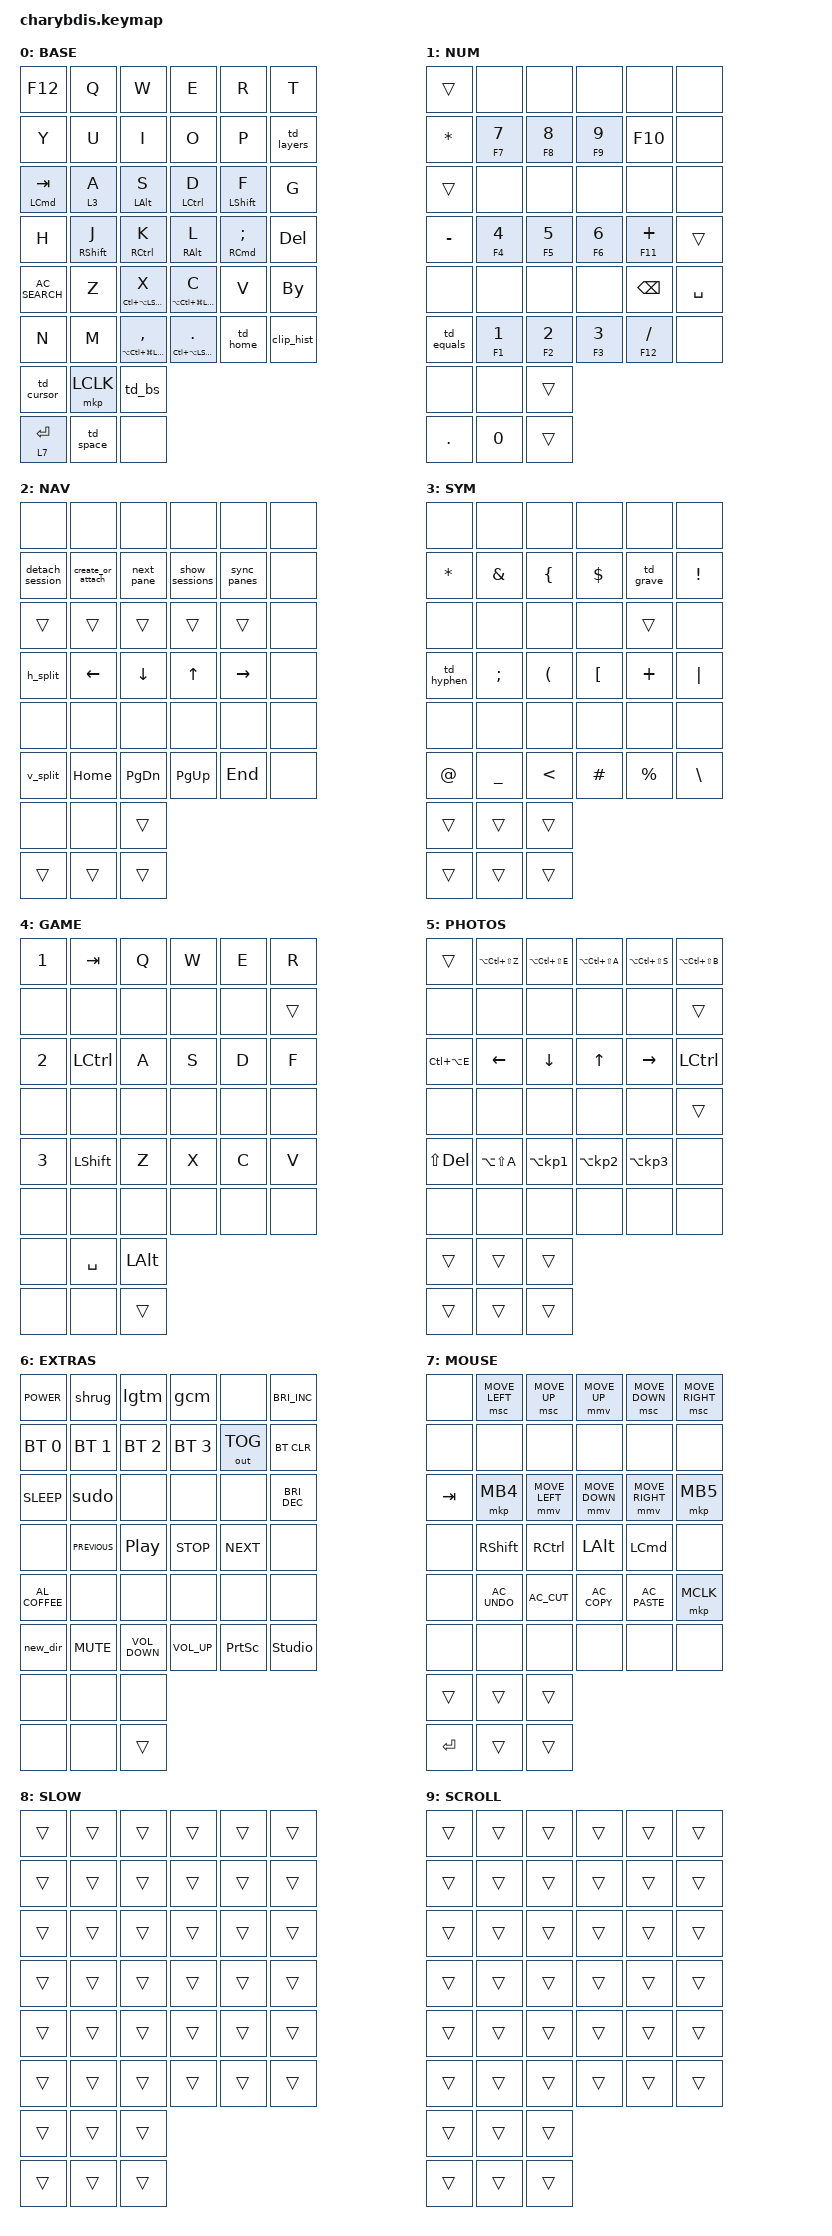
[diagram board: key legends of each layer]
#include <behaviors.dtsi>
#include <dt-bindings/zmk/bt.h>
#include <dt-bindings/zmk/keys.h>
#include <dt-bindings/zmk/mouse.h>
#include <dt-bindings/zmk/outputs.h>
#include <behaviors/mouse_keys.dtsi>
#include <dt-bindings/zmk/ext_power.h>
#include "macros.dtsi"
#include "behaviors.dtsi"
#include "combos.dtsi"

/ {
    /* input config for mouse move mode */
    trackball_listener {
        compatible = "zmk,input-behavior-listener";
        device = <&vtrackball>;
        layers = <0 2 7>;
        evt-type = <INPUT_EV_REL>;
        x-input-code = <INPUT_REL_X>;
        y-input-code = <INPUT_REL_Y>;
        scale-multiplier = <4>;
        scale-divisor = <5>;
        // bindings = <&ib_toggle_layer 7>;
    };

    /* input config for snipe mode */
    trackball_snipe_listener {
        compatible = "zmk,input-behavior-listener";   
        device = <&vtrackball>;
        layers = <8>;
        evt-type = <INPUT_EV_REL>;
        x-input-code = <INPUT_REL_X>;
        y-input-code = <INPUT_REL_Y>;
        scale-multiplier = <1>;
        scale-divisor = <6>;
    };

    /* input config for mouse scroll mode */
    trackball_scroll_listener {
        compatible = "zmk,input-behavior-listener";
        device = <&vtrackball>;
        layers = <9>;
        evt-type = <INPUT_EV_REL>;            
        x-input-code = <INPUT_REL_MISC>;
        y-input-code = <INPUT_REL_WHEEL>;
        y-invert;
        bindings = <&ib_wheel_scaler 1 14>;
    };

    /* define a resolution down scaler only for INPUT_REL_WHEEL */
    ib_wheel_scaler: ib_wheel_scaler {
        compatible = "zmk,input-behavior-scaler";
        #binding-cells = <2>;
        evt-type = <INPUT_EV_REL>;
        input-code = <INPUT_REL_WHEEL>;
    };

    /* adjust cooldown waiting period for mouse key layer after activated */
    ib_toggle_layer: ib_toggle_layer {
        compatible = "zmk,input-behavior-tog-layer";
        #binding-cells = <1>;
        time-to-live-ms = <750>;
    };

// #define BASE    0
// #define NUM     1
// #define NAV     2
// #define SYM     3
// #define GAME    4
// #define PHOTOS  5
// #define EXTRAS  6
// #define MOUSE   7
// #define SLOW    8
// #define SCROLL  9

    keymap {
        compatible = "zmk,keymap";
        BASE {
// ╭───────┬───────┬───────┬───────┬───────┬───────╮  ╭───────┬───────┬───────┬───────┬───────┬───────╮
// │ F12   │   Q   │   W   │   E   │   R   │   T   │  │   Y   │   U   │   I   │   O   │   P   │ TDLyr │
// ├───────┼───────┼───────┼───────┼───────┼───────┤  ├───────┼───────┼───────┼───────┼───────┼───────┤
// │ TAB   │ L3/A  │   S   │   D   │   F   │   G   │  │   H   │   J   │   K   │   L   │   ;   │  DEL  │
// ├───────┼───────┼───────┼───────┼───────┼───────┤  ├───────┼───────┼───────┼───────┼───────┼───────┤
// │ SRCH  │   Z   │   X   │   C   │   V   │   B   │  │   N   │   M   │   ,   │   .   │ TDHom │CLIP H │
// ╰───────┴───────┴───────┴───────┴───────┴───────╯  ╰───────┴───────┴───────┴───────┴───────┴───────╯
//                           ╭───────┬───────┬───────╮  ╭───────┬───────┬───────╮
//                           │ TDCur │ LCLK  │ TDBS  │  │L7/RET │ TDSPC │ ----- │
//                           ╰───────┴───────┴───────╯  ╰───────┴───────┴───────╯
            bindings = <
            // row1 left
            &kp F12 &kp Q &kp W &kp E &kp R &kp T
            // row 1 right
            &kp Y &kp U &kp I &kp O &kp P &td_layers
            // row 2 left
            &hm_left LCMD TAB &lt 3 A &hm_left LEFT_ALT S &hm_left LCTRL D &hm_left LEFT_SHIFT F &kp G
            // row 2 right
            &kp H &hm_right RIGHT_SHIFT J &hm_right RCTRL K &hm_right RIGHT_ALT L &hm_right RCMD SEMICOLON &kp DEL
            // row 3 left
            &kp C_AC_SEARCH &kp Z &hm_left LC(LA(LEFT_SHIFT)) X &hm_left LA(LC(LG(LEFT_SHIFT))) C &kp V &kp By
            // row 3 right
            &kp N &kp M &hm_right LA(LC(LG(LEFT_SHIFT))) COMMA &hm_right LC(LA(LEFT_SHIFT)) PERIOD &td_home &clip_hist
            // left cluster
            &td_cursor &mkp LCLK &td_bs
            // right cluster
                                                                                                                                                                  &lt 7 RETURN &td_space &none
            >;
        };

        NUM {
// ╭───────┬───────┬───────┬───────┬───────┬───────╮  ╭───────┬───────┬───────┬───────┬───────┬───────╮
// │ TRANS │ ----- │ ----- │ ----- │ ----- │ ----- │  │   *   │   7   │   8   │   9   │  F10  │ ----- │
// ├───────┼───────┼───────┼───────┼───────┼───────┤  ├───────┼───────┼───────┼───────┼───────┼───────┤
// │ TRANS │ ----- │ ----- │ ----- │ ----- │ ----- │  │   -   │   4   │   5   │   6   │F11/+  │ TRANS │
// ├───────┼───────┼───────┼───────┼───────┼───────┤  ├───────┼───────┼───────┼───────┼───────┼───────┤
// │ ----- │ ----- │ ----- │ ----- │  BSPC │  SPC  │  │ TDEql │   1   │   2   │   3   │F12/// │ ----- │
// ╰───────┴───────┴───────┴───────┴───────┴───────╯  ╰───────┴───────┴───────┴───────┴───────┴───────╯
//                           ╭───────┬───────┬───────╮  ╭───────┬───────┬───────╮
//                           │ ----- │ ----- │ TRANS │  │   .   │   0   │ TRANS │
//                           ╰───────┴───────┴───────╯  ╰───────┴───────┴───────╯
            bindings = <
            // row1 left
            &trans &none &none &none &none &none
            // row 1 right
            &kp ASTRK &hm F7 N7 &hm F8 N8 &hm F9 N9 &kp F10 &none
            // row 2 left
            &trans &none &none &none &none &none
            // row 2 right
            &kp MINUS &hm F4 N4 &hm F5 N5 &hm F6 N6 &hm F11 PLUS &trans
            // row 3 left
            &none &none &none &none &kp BACKSPACE &kp SPACE
            // row 3 right
            &td_equals &hm F1 N1 &hm F2 N2 &hm F3 N3 &hm F12 SLASH &none
            // left cluster
            &none &none &trans
            // right cluster
            &kp DOT &kp N0 &trans
            >;
        };

        NAV {
// ╭───────┬───────┬───────┬───────┬───────┬───────╮  ╭───────┬───────┬───────┬───────┬───────┬───────╮
// │ ----- │ ----- │ ----- │ ----- │ ----- │ ----- │  │ DETACH│ CREATE│ NXTPAN│ SHOW S│ SYNCP │ ----- │
// ├───────┼───────┼───────┼───────┼───────┼───────┤  ├───────┼───────┼───────┼───────┼───────┼───────┤
// │ TRANS │ TRANS │ TRANS │ TRANS │ TRANS │ ----- │  │ HSPLIT│  LEFT │  DOWN │   UP  │ RIGHT │ ----- │
// ├───────┼───────┼───────┼───────┼───────┼───────┤  ├───────┼───────┼───────┼───────┼───────┼───────┤
// │ ----- │ ----- │ ----- │ ----- │ ----- │ ----- │  │ VSPLIT│  HOME │ PG_DN │ PG_UP │  END  │ ----- │
// ╰───────┴───────┴───────┴───────┴───────┴───────╯  ╰───────┴───────┴───────┴───────┴───────┴───────╯
//                           ╭───────┬───────┬───────╮  ╭───────┬───────┬───────╮
//                           │ ----- │ ----- │ TRANS │  │ TRANS │ TRANS │ TRANS │
//                           ╰───────┴───────┴───────╯  ╰───────┴───────┴───────╯
            bindings = <
            // row1 left
            &none &none &none &none &none &none
            // row 1 right
            &detach_session &create_or_attach &next_pane &show_sessions &sync_panes &none
            // row 2 left
            &trans &trans &trans &trans &trans &none
            // row 2 right
            &h_split &kp LEFT_ARROW &kp DOWN &kp UP &kp RIGHT_ARROW &none
            // row 3 left
            &none &none &none &none &none &none
            // row 3 right
            &v_split &kp HOME &kp PG_DN &kp PG_UP &kp END &none
            // left cluster
            &none &none &trans
            // right cluster
            &trans &trans &trans
            >;
        };

        SYM {
// ╭───────┬───────┬───────┬───────┬───────┬───────╮  ╭───────┬───────┬───────┬───────┬───────┬───────╮
// │ ----- │ ----- │ ----- │ ----- │ ----- │ ----- │  │   *   │   &   │ LBRC  │   $   │TDGrav │   !   │
// ├───────┼───────┼───────┼───────┼───────┼───────┤  ├───────┼───────┼───────┼───────┼───────┼───────┤
// │ ----- │ ----- │ ----- │ ----- │ TRANS │ ----- │  │ TDHyp │   ;   │ LPAR  │ LBKT  │   +   │   |   │
// ├───────┼───────┼───────┼───────┼───────┼───────┤  ├───────┼───────┼───────┼───────┼───────┼───────┤
// │ ----- │ ----- │ ----- │ ----- │ ----- │ ----- │  │   @   │ UNDS  │   <   │   #   │   %   │   \  │
// ╰───────┴───────┴───────┴───────┴───────┴───────╯  ╰───────┴───────┴───────┴───────┴───────┴───────╯
//                           ╭───────┬───────┬───────╮  ╭───────┬───────┬───────╮
//                           │ TRANS │ TRANS │ TRANS │  │ TRANS │ TRANS │ TRANS │
//                           ╰───────┴───────┴───────╯  ╰───────┴───────┴───────╯
            bindings = <
            // row1 left
            &none &none &none &none &none &none
            // row 1 right
            &kp ASTRK &kp AMPS &kp LEFT_BRACE &kp DLLR &td_grave &kp EXCL
            // row 2 left
            &none &none &none &none &trans &none
            // row 2 right
            &td_hyphen &kp SEMICOLON &kp LPAR &kp LBKT &kp PLUS &kp PIPE
            // row 3 left
            &none &none &none &none &none &none
            // row 3 right
            &kp AT_SIGN &kp UNDERSCORE &kp LT &kp HASH &kp PRCNT &kp BSLH
            // left cluster
            &trans &trans &trans
            // right cluster
            &trans &trans &trans
            >;
        };

        GAME {
// ╭───────┬───────┬───────┬───────┬───────┬───────╮  ╭───────┬───────┬───────┬───────┬───────┬───────╮
// │   1   │  TAB  │   Q   │   W   │   E   │   R   │  │ ----- │ ----- │ ----- │ ----- │ ----- │ TRANS │
// ├───────┼───────┼───────┼───────┼───────┼───────┤  ├───────┼───────┼───────┼───────┼───────┼───────┤
// │   2   │  LCTL │   A   │   S   │   D   │   F   │  │ ----- │ ----- │ ----- │ ----- │ ----- │ ----- │
// ├───────┼───────┼───────┼───────┼───────┼───────┤  ├───────┼───────┼───────┼───────┼───────┼───────┤
// │   3   │  LSFT │   Z   │   X   │   C   │   V   │  │ ----- │ ----- │ ----- │ ----- │ ----- │ ----- │
// ╰───────┴───────┴───────┴───────┴───────┴───────╯  ╰───────┴───────┴───────┴───────┴───────┴───────╯
//                           ╭───────┬───────┬───────╮  ╭───────┬───────┬───────╮
//                           │ ----- │  SPC  │ LALT  │  │ ----- │ ----- │ TRANS │
//                           ╰───────┴───────┴───────╯  ╰───────┴───────┴───────╯
            bindings = <
            // row1 left
            &kp N1 &kp TAB &kp Q &kp W &kp E &kp R
            // row 1 right
            &none &none &none &none &none &trans
            // row 2 left
            &kp N2 &kp LCTRL &kp A &kp S &kp D &kp F
            // row 2 right
            &none &none &none &none &none &none
            // row 3 left
            &kp N3 &kp LSHFT &kp Z &kp X &kp C &kp V
            // row 3 right
            &none &none &none &none &none &none
            // left cluster
            &none &kp SPACE &kp LEFT_ALT
            // right cluster
            &none &none &trans
            >;
        };

        PHOTOS {
// ╭───────┬───────┬───────┬───────┬───────┬───────╮  ╭───────┬───────┬───────┬───────┬───────┬───────╮
// │ TRANS │   Z   │   E   │   A   │   S   │   B   │  │ ----- │ ----- │ ----- │ ----- │ ----- │ TRANS │
// ├───────┼───────┼───────┼───────┼───────┼───────┤  ├───────┼───────┼───────┼───────┼───────┼───────┤
// │   E   │  LEFT │  DOWN │   UP  │ RIGHT │  LCTL │  │ ----- │ ----- │ ----- │ ----- │ ----- │ TRANS │
// ├───────┼───────┼───────┼───────┼───────┼───────┤  ├───────┼───────┼───────┼───────┼───────┼───────┤
// │  DEL  │   A   │   K1  │   K2  │   K3  │ ----- │  │ ----- │ ----- │ ----- │ ----- │ ----- │ ----- │
// ╰───────┴───────┴───────┴───────┴───────┴───────╯  ╰───────┴───────┴───────┴───────┴───────┴───────╯
//                           ╭───────┬───────┬───────╮  ╭───────┬───────┬───────╮
//                           │ TRANS │ TRANS │ TRANS │  │ TRANS │ TRANS │ TRANS │
//                           ╰───────┴───────┴───────╯  ╰───────┴───────┴───────╯
            bindings = <
            // row1 left
            &trans &kp LA(LC(LS(Z))) &kp LA(LC(LS(E))) &kp LA(LC(LS(A))) &kp LA(LC(LS(S))) &kp LA(LC(LS(B)))
            // row 1 right
            &none &none &none &none &none &trans
            // row 2 left
            &kp LC(LA(E)) &kp LEFT &kp DOWN &kp UP &kp RIGHT &kp LCTRL
            // row 2 right
            &none &none &none &none &none &trans
            // row 3 left
            &kp LS(DELETE) &kp LA(LS(A)) &kp LA(KP_N1) &kp LA(KP_N2) &kp LA(KP_N3) &none
            // row 3 right
            &none &none &none &none &none &none
            // left cluster
            &trans &trans &trans
            // right cluster
            &trans &trans &trans
            >;
        };

        EXTRAS {
// ╭───────┬───────┬───────┬───────┬───────┬───────╮  ╭───────┬───────┬───────┬───────┬───────┬───────╮
// │  PWR  │ SHRUG │ LGTM  │  GCM  │ ----- │  BRT+ │  │  BT 0 │  BT 1 │  BT 2 │  BT 3 │ OUTTOG│ BT CLR│
// ├───────┼───────┼───────┼───────┼───────┼───────┤  ├───────┼───────┼───────┼───────┼───────┼───────┤
// │ SLEEP │  SUDO │ ----- │ ----- │ ----- │  BRT- │  │ ----- │  PREV │  PLAY │  STOP │  NEXT │ ----- │
// ├───────┼───────┼───────┼───────┼───────┼───────┤  ├───────┼───────┼───────┼───────┼───────┼───────┤
// │ COFFEE│ ----- │ ----- │ ----- │ ----- │ ----- │  │ NEWDIR│  MUTE │  VOL- │  VOL+ │ PRSCN │ UNLOCK│
// ╰───────┴───────┴───────┴───────┴───────┴───────╯  ╰───────┴───────┴───────┴───────┴───────┴───────╯
//                           ╭───────┬───────┬───────╮  ╭───────┬───────┬───────╮
//                           │ ----- │ ----- │ ----- │  │ ----- │ ----- │ TRANS │
//                           ╰───────┴───────┴───────╯  ╰───────┴───────┴───────╯
            bindings = <
            // row1 left
            &kp C_POWER &shrug &lgtm &gcm &none &kp C_BRIGHTNESS_INC
            // row 1 right
            &bt BT_SEL 0 &bt BT_SEL 1 &bt BT_SEL 2 &bt BT_SEL 3 &out OUT_TOG &bt BT_CLR
            // row 2 left
            &kp C_SLEEP &sudo &none &none &none &kp C_BRIGHTNESS_DEC
            // row 2 right
            &none &kp C_PREVIOUS &kp C_PLAY_PAUSE &kp C_STOP &kp C_NEXT &none
            // row 3 left
            &kp C_AL_COFFEE &none &none &none &none &none
            // row 3 right
            &new_dir &kp K_MUTE &kp C_VOLUME_DOWN &kp C_VOLUME_UP &kp PRINTSCREEN &studio_unlock
            // left cluster
            &none &none &none
            // right cluster
            &none &none &trans
            >;
        };

        MOUSE {
// ╭───────┬───────┬───────┬───────┬───────┬───────╮  ╭───────┬───────┬───────┬───────┬───────┬───────╮
// │ ----- │ S LEFT│  S UP │  M UP │ S DOWN│ S RIGH│  │ ----- │ ----- │ ----- │ ----- │ ----- │ ----- │
// ├───────┼───────┼───────┼───────┼───────┼───────┤  ├───────┼───────┼───────┼───────┼───────┼───────┤
// │  TAB  │  MB4  │ M LEFT│ M DOWN│ M RIGH│  MB5  │  │ ----- │  RSFT │  RCTL │  LALT │  LGUI │ ----- │
// ├───────┼───────┼───────┼───────┼───────┼───────┤  ├───────┼───────┼───────┼───────┼───────┼───────┤
// │ ----- │  UNDO │  CUT  │  COPY │ PASTE │  MCLK │  │ ----- │ ----- │ ----- │ ----- │ ----- │ ----- │
// ╰───────┴───────┴───────┴───────┴───────┴───────╯  ╰───────┴───────┴───────┴───────┴───────┴───────╯
//                           ╭───────┬───────┬───────╮  ╭───────┬───────┬───────╮
//                           │ TRANS │ TRANS │ TRANS │  │  RET  │ TRANS │ TRANS │
//                           ╰───────┴───────┴───────╯  ╰───────┴───────┴───────╯
            bindings = <
            // row1 left
            &none &msc MOVE_LEFT &msc MOVE_UP &mmv MOVE_UP &msc MOVE_DOWN &msc MOVE_RIGHT
            // row 1 right
            &none &none &none &none &none &none
            // row 2 left
            &kp TAB &mkp MB4 &mmv MOVE_LEFT &mmv MOVE_DOWN &mmv MOVE_RIGHT &mkp MB5
            // row 2 right
            &none &kp RIGHT_SHIFT &kp RCTRL &kp LEFT_ALT &kp LCMD &none
            // row 3 left
            &none &kp C_AC_UNDO &kp C_AC_CUT &kp C_AC_COPY &kp C_AC_PASTE &mkp MCLK
            // row 3 right
            &none &none &none &none &none &none
            // left cluster
            &trans &trans &trans
            // right cluster
            &kp RETURN &trans &trans
            >;
        };

        SLOW {
// ╭───────┬───────┬───────┬───────┬───────┬───────╮  ╭───────┬───────┬───────┬───────┬───────┬───────╮
// │ TRANS │ TRANS │ TRANS │ TRANS │ TRANS │ TRANS │  │ TRANS │ TRANS │ TRANS │ TRANS │ TRANS │ TRANS │
// ├───────┼───────┼───────┼───────┼───────┼───────┤  ├───────┼───────┼───────┼───────┼───────┼───────┤
// │ TRANS │ TRANS │ TRANS │ TRANS │ TRANS │ TRANS │  │ TRANS │ TRANS │ TRANS │ TRANS │ TRANS │ TRANS │
// ├───────┼───────┼───────┼───────┼───────┼───────┤  ├───────┼───────┼───────┼───────┼───────┼───────┤
// │ TRANS │ TRANS │ TRANS │ TRANS │ TRANS │ TRANS │  │ TRANS │ TRANS │ TRANS │ TRANS │ TRANS │ TRANS │
// ╰───────┴───────┴───────┴───────┴───────┴───────╯  ╰───────┴───────┴───────┴───────┴───────┴───────╯
//                           ╭───────┬───────┬───────╮  ╭───────┬───────┬───────╮
//                           │ TRANS │ TRANS │ TRANS │  │ TRANS │ TRANS │ TRANS │
//                           ╰───────┴───────┴───────╯  ╰───────┴───────┴───────╯
            bindings = <
            // row1 left
            &trans &trans &trans &trans &trans &trans
            // row 1 right
            &trans &trans &trans &trans &trans &trans
            // row 2 left
            &trans &trans &trans &trans &trans &trans
            // row 2 right
            &trans &trans &trans &trans &trans &trans
            // row 3 left
            &trans &trans &trans &trans &trans &trans
            // row 3 right
            &trans &trans &trans &trans &trans &trans
            // left cluster
            &trans &trans &trans
            // right cluster
            &trans &trans &trans
            >;
        };

        SCROLL {
// ╭───────┬───────┬───────┬───────┬───────┬───────╮  ╭───────┬───────┬───────┬───────┬───────┬───────╮
// │ TRANS │ TRANS │ TRANS │ TRANS │ TRANS │ TRANS │  │ TRANS │ TRANS │ TRANS │ TRANS │ TRANS │ TRANS │
// ├───────┼───────┼───────┼───────┼───────┼───────┤  ├───────┼───────┼───────┼───────┼───────┼───────┤
// │ TRANS │ TRANS │ TRANS │ TRANS │ TRANS │ TRANS │  │ TRANS │ TRANS │ TRANS │ TRANS │ TRANS │ TRANS │
// ├───────┼───────┼───────┼───────┼───────┼───────┤  ├───────┼───────┼───────┼───────┼───────┼───────┤
// │ TRANS │ TRANS │ TRANS │ TRANS │ TRANS │ TRANS │  │ TRANS │ TRANS │ TRANS │ TRANS │ TRANS │ TRANS │
// ╰───────┴───────┴───────┴───────┴───────┴───────╯  ╰───────┴───────┴───────┴───────┴───────┴───────╯
//                           ╭───────┬───────┬───────╮  ╭───────┬───────┬───────╮
//                           │ TRANS │ TRANS │ TRANS │  │ TRANS │ TRANS │ TRANS │
//                           ╰───────┴───────┴───────╯  ╰───────┴───────┴───────╯
            bindings = <
            // row1 left
            &trans &trans &trans &trans &trans &trans
            // row 1 right
            &trans &trans &trans &trans &trans &trans
            // row 2 left
            &trans &trans &trans &trans &trans &trans
            // row 2 right
            &trans &trans &trans &trans &trans &trans
            // row 3 left
            &trans &trans &trans &trans &trans &trans
            // row 3 right
            &trans &trans &trans &trans &trans &trans
            // left cluster
            &trans &trans &trans
            // right cluster
            &trans &trans &trans
            >;
        };
    };
};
